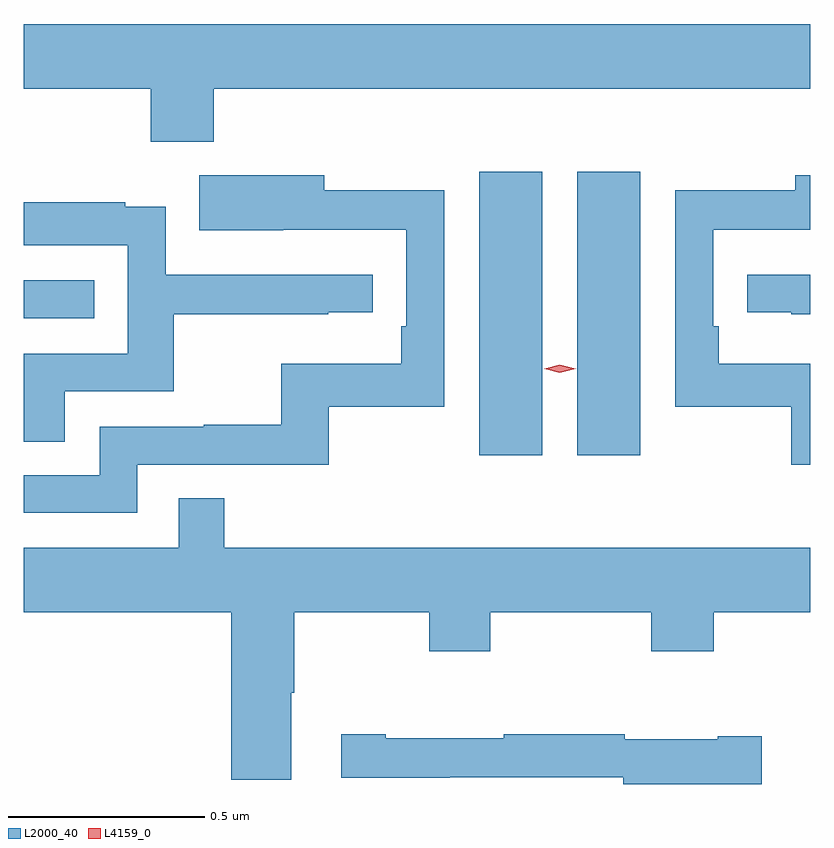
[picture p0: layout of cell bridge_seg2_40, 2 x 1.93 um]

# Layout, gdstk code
import gdstk
lib = gdstk.Library(unit=1e-6, precision=1e-09)
def R(c, l, rs):  # rectangles x0, y0, x1, y1
    for r in rs: c.add(gdstk.rectangle(r[:2], r[2:], *l))
def P(c, l, *ps):  # polygons
    for p in ps: c.add(gdstk.Polygon(p, *l))
L2000_40 = (2000, 40)
L4159_0 = (4159, 0)

bridge_seg2_40 = lib.new_cell('bridge_seg2_40')
R(bridge_seg2_40, L2000_40, [(1107.719,626.724,1107.88,627.445), (1107.968,626.724,1108.129,627.445), (1106.561,627.072,1106.741,627.168)])
P(bridge_seg2_40, L2000_40, [(1107.044,627.656),(1108.561,627.656),(1108.561,627.82),(1106.561,627.82),(1106.561,627.656),(1106.884,627.656),(1106.884,627.521),(1107.044,627.521)],
  [(1106.85,626.7),(1107.337,626.7),(1107.337,626.847),(1107.63,626.847),(1107.63,627.398),(1107.325,627.398),(1107.325,627.436),(1107.007,627.436),(1107.007,627.296),(1107.221,627.296),(1107.221,627.297),(1107.534,627.297),(1107.534,627.052),(1107.521,627.052),(1107.521,626.956),(1107.216,626.956),(1107.216,626.801),(1107.019,626.801),(1107.019,626.796),(1106.754,626.796),(1106.754,626.673),(1106.561,626.673),(1106.561,626.577),(1106.85,626.577)],
  [(1108.561,626.956),(1108.328,626.956),(1108.328,627.052),(1108.314,627.052),(1108.314,627.297),(1108.561,627.297),(1108.561,627.436),(1108.523,627.436),(1108.523,627.398),(1108.218,627.398),(1108.218,626.847),(1108.512,626.847),(1108.512,626.7),(1108.561,626.7)],
  [(1106.665,626.886),(1106.942,626.886),(1106.942,627.082),(1107.335,627.082),(1107.335,627.087),(1107.448,627.087),(1107.448,627.183),(1106.922,627.183),(1106.922,627.355),(1106.819,627.355),(1106.819,627.367),(1106.561,627.367),(1106.561,627.258),(1106.826,627.258),(1106.826,626.982),(1106.561,626.982),(1106.561,626.758),(1106.665,626.758)],
  [(1108.561,627.183),(1108.401,627.183),(1108.401,627.087),(1108.513,627.087),(1108.513,627.082),(1108.561,627.082)],
  [(1107.241,626.12),(1107.249,626.12),(1107.249,626.324),(1107.592,626.324),(1107.592,626.225),(1107.747,626.225),(1107.747,626.324),(1108.156,626.324),(1108.156,626.225),(1108.316,626.225),(1108.316,626.324),(1108.561,626.324),(1108.561,626.488),(1107.071,626.488),(1107.071,626.615),(1106.955,626.615),(1106.955,626.488),(1106.561,626.488),(1106.561,626.324),(1107.089,626.324),(1107.089,625.899),(1107.241,625.899)],
  [(1108.438,626.01),(1108.325,626.01),(1108.325,626.002),(1108.089,626.002),(1108.089,626.014),(1107.781,626.014),(1107.781,626.004),(1107.481,626.004),(1107.481,626.014),(1107.369,626.014),(1107.369,625.904),(1107.644,625.904),(1107.644,625.905),(1108.085,625.905),(1108.085,625.888),(1108.438,625.888)])
P(bridge_seg2_40, L4159_0, [(1107.924,626.934),(1107.884,626.944),(1107.884,626.944),(1107.884,626.944),(1107.924,626.954),(1107.964,626.944),(1107.964,626.944),(1107.964,626.943)])

lib.write_gds('bridge_seg2_40.gds')
